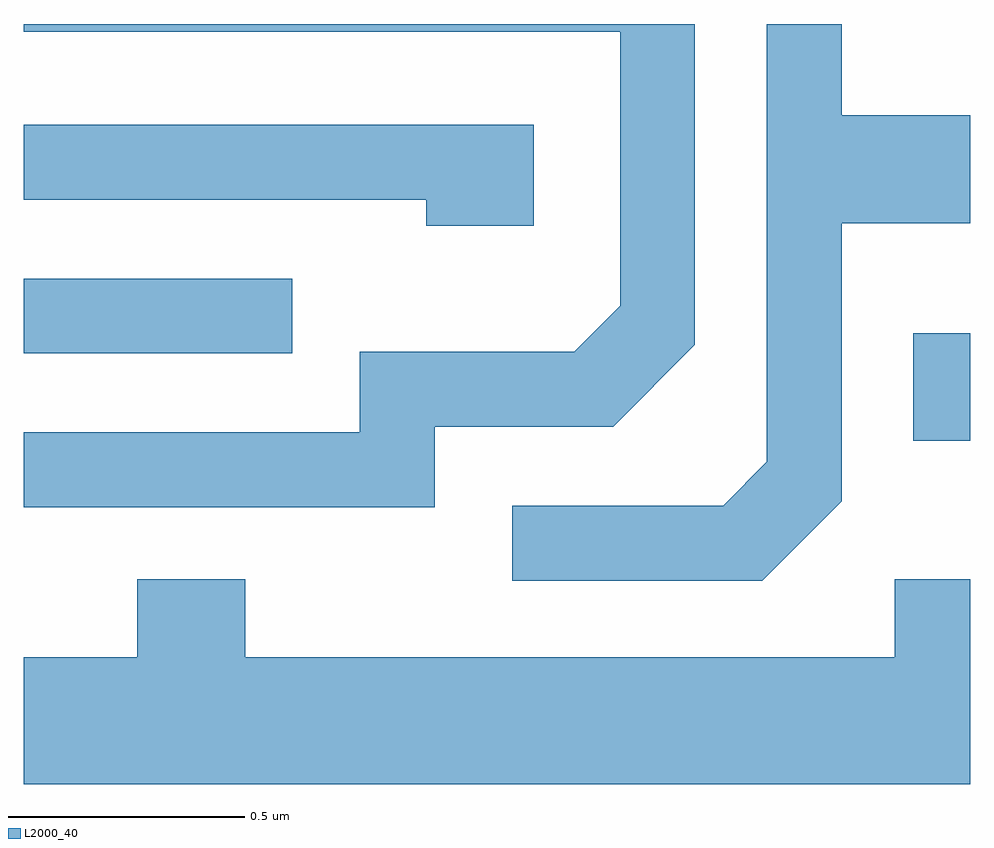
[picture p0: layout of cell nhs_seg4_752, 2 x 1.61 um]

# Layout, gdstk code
import gdstk
lib = gdstk.Library(unit=1e-6, precision=1e-09)
def R(c, l, rs):  # rectangles x0, y0, x1, y1
    for r in rs: c.add(gdstk.rectangle(r[:2], r[2:], *l))
def P(c, l, *ps):  # polygons
    for p in ps: c.add(gdstk.Polygon(p, *l))
L2000_40 = (2000, 40)

nhs_seg4_752 = lib.new_cell('nhs_seg4_752')
R(nhs_seg4_752, L2000_40, [(192.491,1322.101,192.611,1322.329), (190.611,1322.286,191.178,1322.444)])
P(nhs_seg4_752, L2000_40, [(192.339,1321.974),(192.339,1322.561),(192.611,1322.561),(192.611,1322.789),(192.339,1322.789),(192.339,1322.982),(192.181,1322.982),(192.181,1322.057),(192.089,1321.964),(191.643,1321.964),(191.643,1321.806),(192.172,1321.806)],
  [(191.479,1322.131),(191.857,1322.131),(192.029,1322.304),(192.029,1322.982),(190.611,1322.982),(190.611,1322.966),(191.871,1322.966),(191.871,1322.387),(191.774,1322.289),(191.321,1322.289),(191.321,1322.119),(190.611,1322.119),(190.611,1321.961),(191.479,1321.961)],
  [(191.689,1322.769),(190.611,1322.769),(190.611,1322.611),(191.461,1322.611),(191.461,1322.556),(191.689,1322.556)],
  [(192.611,1321.809),(192.451,1321.809),(192.451,1321.644),(191.079,1321.644),(191.079,1321.809),(190.851,1321.809),(190.851,1321.644),(190.611,1321.644),(190.611,1321.376),(192.611,1321.376)])

lib.write_gds('nhs_seg4_752.gds')
